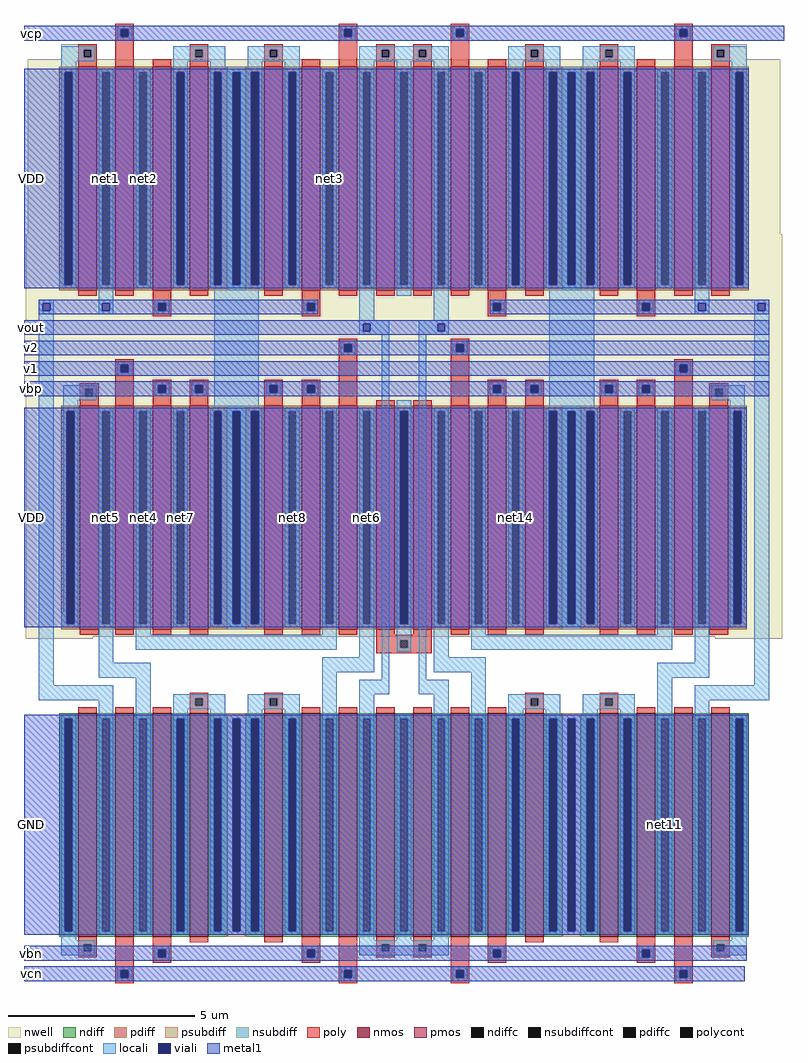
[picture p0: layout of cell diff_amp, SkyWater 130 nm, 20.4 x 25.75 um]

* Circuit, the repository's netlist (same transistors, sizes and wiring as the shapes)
* SPICE3 file created from diff_amp.ext - technology: sky130A


* Top level circuit diff_amp

X0 a_1700_2180# vcn vout GND sky130_fd_pr__nfet_01v8 ad=3e+12p pd=1.3e+07u as=9e+12p ps=3.9e+07u w=6e+06u l=500000u
X1 a_1900_4000# vcp vout VDD sky130_fd_pr__pfet_01v8 ad=3e+12p pd=1.3e+07u as=9e+12p ps=3.9e+07u w=6e+06u l=500000u
X2 net6 v2 net4 VDD sky130_fd_pr__pfet_01v8 ad=3e+12p pd=1.3e+07u as=6e+12p ps=2.6e+07u w=6e+06u l=500000u
X3 a_2000_3860# vcn net11 GND sky130_fd_pr__nfet_01v8 ad=3e+12p pd=1.3e+07u as=3e+12p ps=1.3e+07u w=6e+06u l=500000u
X4 net3 net1 VDD VDD sky130_fd_pr__pfet_01v8 ad=3e+12p pd=1.3e+07u as=5.1e+13p ps=2.21e+08u w=6e+06u l=500000u
X5 net4 v1 net5 VDD sky130_fd_pr__pfet_01v8 ad=0p pd=0u as=2.7e+12p ps=1.29e+07u w=6e+06u l=500000u
X6 GND vbn net5 GND sky130_fd_pr__nfet_01v8 ad=3e+13p pd=1.3e+08u as=3e+12p ps=1.3e+07u w=6e+06u l=500000u
X7 a_2900_4000# a_2000_3860# VDD VDD sky130_fd_pr__pfet_01v8 ad=3e+12p pd=1.3e+07u as=0p ps=0u w=6e+06u l=500000u
X8 VDD vbp net14 VDD sky130_fd_pr__pfet_01v8 ad=0p pd=0u as=3e+12p ps=1.3e+07u w=6e+06u l=500000u
X9 VDD a_2000_3860# a_1900_4000# VDD sky130_fd_pr__pfet_01v8 ad=0p pd=0u as=0p ps=0u w=6e+06u l=500000u
X10 vout vout vout GND sky130_fd_pr__nfet_01v8 ad=0p pd=0u as=0p ps=0u w=6e+06u l=500000u
X11 VDD VDD net11 VDD sky130_fd_pr__pfet_01v8 ad=0p pd=0u as=2.7e+12p ps=1.29e+07u w=6e+06u l=500000u
X12 GND vbn a_1700_2180# GND sky130_fd_pr__nfet_01v8 ad=0p pd=0u as=0p ps=0u w=6e+06u l=500000u
X13 VDD VDD VDD VDD sky130_fd_pr__pfet_01v8 ad=0p pd=0u as=0p ps=0u w=6e+06u l=500000u
X14 a_2000_3860# vcp a_2900_4000# VDD sky130_fd_pr__pfet_01v8 ad=3e+12p pd=1.3e+07u as=0p ps=0u w=6e+06u l=500000u
X15 a_1900_2180# v2 a_1700_2180# VDD sky130_fd_pr__pfet_01v8 ad=6e+12p pd=2.6e+07u as=3e+12p ps=1.3e+07u w=6e+06u l=500000u
X16 net5 vcn net1 GND sky130_fd_pr__nfet_01v8 ad=0p pd=0u as=3e+12p ps=1.3e+07u w=6e+06u l=500000u
X17 vout vout vout VDD sky130_fd_pr__pfet_01v8 ad=0p pd=0u as=0p ps=0u w=6e+06u l=500000u
X18 net4 vbp net8 VDD sky130_fd_pr__pfet_01v8 ad=0p pd=0u as=3e+12p ps=1.3e+07u w=6e+06u l=500000u
X19 a_1900_2180# vbp a_2700_2180# VDD sky130_fd_pr__pfet_01v8 ad=0p pd=0u as=3e+12p ps=1.3e+07u w=6e+06u l=500000u
X20 GND GND GND GND sky130_fd_pr__nfet_01v8 ad=0p pd=0u as=0p ps=0u w=6e+06u l=500000u
X21 net6 vbn GND GND sky130_fd_pr__nfet_01v8 ad=3e+12p pd=1.3e+07u as=0p ps=0u w=6e+06u l=500000u
X22 VDD VDD VDD VDD sky130_fd_pr__pfet_01v8 ad=0p pd=0u as=0p ps=0u w=6e+06u l=500000u
X23 net14 vbp a_1900_2180# VDD sky130_fd_pr__pfet_01v8 ad=0p pd=0u as=0p ps=0u w=6e+06u l=500000u
X24 VDD vbp net7 VDD sky130_fd_pr__pfet_01v8 ad=0p pd=0u as=3e+12p ps=1.3e+07u w=6e+06u l=500000u
X25 net11 v1 a_1900_2180# VDD sky130_fd_pr__pfet_01v8 ad=0p pd=0u as=0p ps=0u w=6e+06u l=500000u
X26 net1 GND GND GND sky130_fd_pr__nfet_01v8 ad=0p pd=0u as=0p ps=0u w=6e+06u l=500000u
X27 VDD net1 net2 VDD sky130_fd_pr__pfet_01v8 ad=0p pd=0u as=3e+12p ps=1.3e+07u w=6e+06u l=500000u
X28 GND GND GND GND sky130_fd_pr__nfet_01v8 ad=0p pd=0u as=0p ps=0u w=6e+06u l=500000u
X29 GND GND GND GND sky130_fd_pr__nfet_01v8 ad=0p pd=0u as=0p ps=0u w=6e+06u l=500000u
X30 GND GND a_2000_3860# GND sky130_fd_pr__nfet_01v8 ad=0p pd=0u as=0p ps=0u w=6e+06u l=500000u
X31 a_1700_2180# VDD VDD VDD sky130_fd_pr__pfet_01v8 ad=0p pd=0u as=0p ps=0u w=6e+06u l=500000u
X32 vout vout vout VDD sky130_fd_pr__pfet_01v8 ad=0p pd=0u as=0p ps=0u w=6e+06u l=500000u
X33 a_2700_2180# vbp VDD VDD sky130_fd_pr__pfet_01v8 ad=0p pd=0u as=0p ps=0u w=6e+06u l=500000u
X34 vout vout vout GND sky130_fd_pr__nfet_01v8 ad=0p pd=0u as=0p ps=0u w=6e+06u l=500000u
X35 GND GND GND GND sky130_fd_pr__nfet_01v8 ad=0p pd=0u as=0p ps=0u w=6e+06u l=500000u
X36 VDD VDD VDD VDD sky130_fd_pr__pfet_01v8 ad=0p pd=0u as=0p ps=0u w=6e+06u l=500000u
X37 net7 vbp net4 VDD sky130_fd_pr__pfet_01v8 ad=0p pd=0u as=0p ps=0u w=6e+06u l=500000u
X38 net1 VDD VDD VDD sky130_fd_pr__pfet_01v8 ad=3e+12p pd=1.3e+07u as=0p ps=0u w=6e+06u l=500000u
X39 net5 VDD VDD VDD sky130_fd_pr__pfet_01v8 ad=0p pd=0u as=0p ps=0u w=6e+06u l=500000u
X40 vout vcn net6 GND sky130_fd_pr__nfet_01v8 ad=0p pd=0u as=0p ps=0u w=6e+06u l=500000u
X41 VDD VDD net6 VDD sky130_fd_pr__pfet_01v8 ad=0p pd=0u as=0p ps=0u w=6e+06u l=500000u
X42 net2 vcp net1 VDD sky130_fd_pr__pfet_01v8 ad=0p pd=0u as=0p ps=0u w=6e+06u l=500000u
X43 vout vcp net3 VDD sky130_fd_pr__pfet_01v8 ad=0p pd=0u as=0p ps=0u w=6e+06u l=500000u
X44 net11 vbn GND GND sky130_fd_pr__nfet_01v8 ad=0p pd=0u as=0p ps=0u w=6e+06u l=500000u
X45 VDD VDD VDD VDD sky130_fd_pr__pfet_01v8 ad=0p pd=0u as=0p ps=0u w=6e+06u l=500000u
X46 VDD VDD a_2000_3860# VDD sky130_fd_pr__pfet_01v8 ad=0p pd=0u as=0p ps=0u w=6e+06u l=500000u
X47 net8 vbp VDD VDD sky130_fd_pr__pfet_01v8 ad=0p pd=0u as=0p ps=0u w=6e+06u l=500000u
.end

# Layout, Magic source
magic
tech sky130A
<< nwell >>
rect -145 2620 -50 2660
rect 1600 2620 1695 2660
rect -235 2150 1785 2620
rect -240 1920 1790 2150
rect -245 1715 1790 1920
rect -240 1070 1790 1715
rect -240 1065 -60 1070
rect 1610 1065 1790 1070
<< nmos >>
rect -100 265 -50 865
rect 0 265 50 865
rect 100 265 150 865
rect 200 265 250 865
rect 400 265 450 865
rect 500 265 550 865
rect 600 265 650 865
rect 700 265 750 865
rect 800 265 850 865
rect 900 265 950 865
rect 1000 265 1050 865
rect 1100 265 1150 865
rect 1300 265 1350 865
rect 1400 265 1450 865
rect 1500 265 1550 865
rect 1600 265 1650 865
<< pmos >>
rect -100 2000 -50 2600
rect 0 2000 50 2600
rect 100 2000 150 2600
rect 200 2000 250 2600
rect 400 2000 450 2600
rect 500 2000 550 2600
rect 600 2000 650 2600
rect 700 2000 750 2600
rect 800 2000 850 2600
rect 900 2000 950 2600
rect 1000 2000 1050 2600
rect 1100 2000 1150 2600
rect 1300 2000 1350 2600
rect 1400 2000 1450 2600
rect 1500 2000 1550 2600
rect 1600 2000 1650 2600
rect -95 1090 -45 1690
rect 0 1090 50 1690
rect 100 1090 150 1690
rect 200 1090 250 1690
rect 400 1090 450 1690
rect 500 1090 550 1690
rect 600 1090 650 1690
rect 700 1090 750 1690
rect 800 1090 850 1690
rect 900 1090 950 1690
rect 1000 1090 1050 1690
rect 1100 1090 1150 1690
rect 1300 1090 1350 1690
rect 1400 1090 1450 1690
rect 1500 1090 1550 1690
rect 1595 1090 1645 1690
<< ndiff >>
rect -150 850 -100 865
rect -150 280 -135 850
rect -115 280 -100 850
rect -150 265 -100 280
rect -50 850 0 865
rect -50 280 -35 850
rect -15 280 0 850
rect -50 265 0 280
rect 50 850 100 865
rect 50 280 65 850
rect 85 280 100 850
rect 50 265 100 280
rect 150 850 200 865
rect 150 280 165 850
rect 185 280 200 850
rect 150 265 200 280
rect 250 850 300 865
rect 350 850 400 865
rect 250 280 265 850
rect 285 280 300 850
rect 350 280 365 850
rect 385 280 400 850
rect 250 265 300 280
rect 350 265 400 280
rect 450 850 500 865
rect 450 280 465 850
rect 485 280 500 850
rect 450 265 500 280
rect 550 850 600 865
rect 550 280 565 850
rect 585 280 600 850
rect 550 265 600 280
rect 650 850 700 865
rect 650 280 665 850
rect 685 280 700 850
rect 650 265 700 280
rect 750 850 800 865
rect 750 280 765 850
rect 785 280 800 850
rect 750 265 800 280
rect 850 850 900 865
rect 850 280 865 850
rect 885 280 900 850
rect 850 265 900 280
rect 950 850 1000 865
rect 950 280 965 850
rect 985 280 1000 850
rect 950 265 1000 280
rect 1050 850 1100 865
rect 1050 280 1065 850
rect 1085 280 1100 850
rect 1050 265 1100 280
rect 1150 850 1200 865
rect 1250 850 1300 865
rect 1150 280 1165 850
rect 1185 280 1200 850
rect 1250 280 1265 850
rect 1285 280 1300 850
rect 1150 265 1200 280
rect 1250 265 1300 280
rect 1350 850 1400 865
rect 1350 280 1365 850
rect 1385 280 1400 850
rect 1350 265 1400 280
rect 1450 850 1500 865
rect 1450 280 1465 850
rect 1485 280 1500 850
rect 1450 265 1500 280
rect 1550 850 1600 865
rect 1550 280 1565 850
rect 1585 280 1600 850
rect 1550 265 1600 280
rect 1650 850 1700 865
rect 1650 280 1665 850
rect 1685 280 1700 850
rect 1650 265 1700 280
<< pdiff >>
rect -150 2585 -100 2600
rect -150 2015 -135 2585
rect -115 2015 -100 2585
rect -150 2000 -100 2015
rect -50 2585 0 2600
rect -50 2015 -35 2585
rect -15 2015 0 2585
rect -50 2000 0 2015
rect 50 2585 100 2600
rect 50 2015 65 2585
rect 85 2015 100 2585
rect 50 2000 100 2015
rect 150 2585 200 2600
rect 150 2015 165 2585
rect 185 2015 200 2585
rect 150 2000 200 2015
rect 250 2585 300 2600
rect 350 2585 400 2600
rect 250 2015 265 2585
rect 285 2015 300 2585
rect 350 2015 365 2585
rect 385 2015 400 2585
rect 250 2000 300 2015
rect 350 2000 400 2015
rect 450 2585 500 2600
rect 450 2015 465 2585
rect 485 2015 500 2585
rect 450 2000 500 2015
rect 550 2585 600 2600
rect 550 2015 565 2585
rect 585 2015 600 2585
rect 550 2000 600 2015
rect 650 2585 700 2600
rect 650 2015 665 2585
rect 685 2015 700 2585
rect 650 2000 700 2015
rect 750 2585 800 2600
rect 750 2015 765 2585
rect 785 2015 800 2585
rect 750 2000 800 2015
rect 850 2585 900 2600
rect 850 2015 865 2585
rect 885 2015 900 2585
rect 850 2000 900 2015
rect 950 2585 1000 2600
rect 950 2015 965 2585
rect 985 2015 1000 2585
rect 950 2000 1000 2015
rect 1050 2585 1100 2600
rect 1050 2015 1065 2585
rect 1085 2015 1100 2585
rect 1050 2000 1100 2015
rect 1150 2585 1200 2600
rect 1250 2585 1300 2600
rect 1150 2015 1165 2585
rect 1185 2015 1200 2585
rect 1250 2015 1265 2585
rect 1285 2015 1300 2585
rect 1150 2000 1200 2015
rect 1250 2000 1300 2015
rect 1350 2585 1400 2600
rect 1350 2015 1365 2585
rect 1385 2015 1400 2585
rect 1350 2000 1400 2015
rect 1450 2585 1500 2600
rect 1450 2015 1465 2585
rect 1485 2015 1500 2585
rect 1450 2000 1500 2015
rect 1550 2585 1600 2600
rect 1550 2015 1565 2585
rect 1585 2015 1600 2585
rect 1550 2000 1600 2015
rect 1650 2585 1700 2600
rect 1650 2015 1665 2585
rect 1685 2015 1700 2585
rect 1650 2000 1700 2015
rect -145 1675 -95 1690
rect -145 1105 -130 1675
rect -110 1105 -95 1675
rect -145 1090 -95 1105
rect -45 1675 0 1690
rect -45 1105 -35 1675
rect -15 1105 0 1675
rect -45 1090 0 1105
rect 50 1675 100 1690
rect 50 1105 65 1675
rect 85 1105 100 1675
rect 50 1090 100 1105
rect 150 1675 200 1690
rect 150 1105 165 1675
rect 185 1105 200 1675
rect 150 1090 200 1105
rect 250 1675 300 1690
rect 350 1675 400 1690
rect 250 1105 265 1675
rect 285 1105 300 1675
rect 350 1105 365 1675
rect 385 1105 400 1675
rect 250 1090 300 1105
rect 350 1090 400 1105
rect 450 1675 500 1690
rect 450 1105 465 1675
rect 485 1105 500 1675
rect 450 1090 500 1105
rect 550 1675 600 1690
rect 550 1105 565 1675
rect 585 1105 600 1675
rect 550 1090 600 1105
rect 650 1675 700 1690
rect 650 1105 665 1675
rect 685 1105 700 1675
rect 650 1090 700 1105
rect 750 1675 800 1690
rect 750 1105 765 1675
rect 785 1105 800 1675
rect 750 1090 800 1105
rect 850 1675 900 1690
rect 850 1105 865 1675
rect 885 1105 900 1675
rect 850 1090 900 1105
rect 950 1675 1000 1690
rect 950 1105 965 1675
rect 985 1105 1000 1675
rect 950 1090 1000 1105
rect 1050 1675 1100 1690
rect 1050 1105 1065 1675
rect 1085 1105 1100 1675
rect 1050 1090 1100 1105
rect 1150 1675 1200 1690
rect 1250 1675 1300 1690
rect 1150 1105 1165 1675
rect 1185 1105 1200 1675
rect 1250 1105 1265 1675
rect 1285 1105 1300 1675
rect 1150 1090 1200 1105
rect 1250 1090 1300 1105
rect 1350 1675 1400 1690
rect 1350 1105 1365 1675
rect 1385 1105 1400 1675
rect 1350 1090 1400 1105
rect 1450 1675 1500 1690
rect 1450 1105 1465 1675
rect 1485 1105 1500 1675
rect 1450 1090 1500 1105
rect 1550 1675 1595 1690
rect 1550 1105 1565 1675
rect 1585 1105 1595 1675
rect 1550 1090 1595 1105
rect 1645 1675 1695 1690
rect 1645 1105 1660 1675
rect 1680 1105 1695 1675
rect 1645 1090 1695 1105
<< ndiffc >>
rect -135 280 -115 850
rect -35 280 -15 850
rect 65 280 85 850
rect 165 280 185 850
rect 265 280 285 850
rect 365 280 385 850
rect 465 280 485 850
rect 565 280 585 850
rect 665 280 685 850
rect 765 280 785 850
rect 865 280 885 850
rect 965 280 985 850
rect 1065 280 1085 850
rect 1165 280 1185 850
rect 1265 280 1285 850
rect 1365 280 1385 850
rect 1465 280 1485 850
rect 1565 280 1585 850
rect 1665 280 1685 850
<< pdiffc >>
rect -135 2015 -115 2585
rect -35 2015 -15 2585
rect 65 2015 85 2585
rect 165 2015 185 2585
rect 265 2015 285 2585
rect 365 2015 385 2585
rect 465 2015 485 2585
rect 565 2015 585 2585
rect 665 2015 685 2585
rect 765 2015 785 2585
rect 865 2015 885 2585
rect 965 2015 985 2585
rect 1065 2015 1085 2585
rect 1165 2015 1185 2585
rect 1265 2015 1285 2585
rect 1365 2015 1385 2585
rect 1465 2015 1485 2585
rect 1565 2015 1585 2585
rect 1665 2015 1685 2585
rect -130 1105 -110 1675
rect -35 1105 -15 1675
rect 65 1105 85 1675
rect 165 1105 185 1675
rect 265 1105 285 1675
rect 365 1105 385 1675
rect 465 1105 485 1675
rect 565 1105 585 1675
rect 665 1105 685 1675
rect 765 1105 785 1675
rect 865 1105 885 1675
rect 965 1105 985 1675
rect 1065 1105 1085 1675
rect 1165 1105 1185 1675
rect 1265 1105 1285 1675
rect 1365 1105 1385 1675
rect 1465 1105 1485 1675
rect 1565 1105 1585 1675
rect 1660 1105 1680 1675
<< psubdiff >>
rect 300 850 350 865
rect 300 280 315 850
rect 335 280 350 850
rect 300 265 350 280
rect 1200 850 1250 865
rect 1200 280 1215 850
rect 1235 280 1250 850
rect 1200 265 1250 280
<< nsubdiff >>
rect 300 2585 350 2600
rect 300 2015 315 2585
rect 335 2015 350 2585
rect 300 2000 350 2015
rect 1200 2585 1250 2600
rect 1200 2015 1215 2585
rect 1235 2015 1250 2585
rect 1200 2000 1250 2015
rect 300 1675 350 1690
rect 300 1105 315 1675
rect 335 1105 350 1675
rect 300 1090 350 1105
rect 1200 1675 1250 1690
rect 1200 1105 1215 1675
rect 1235 1105 1250 1675
rect 1200 1090 1250 1105
<< psubdiffcont >>
rect 315 280 335 850
rect 1215 280 1235 850
<< nsubdiffcont >>
rect 315 2015 335 2585
rect 1215 2015 1235 2585
rect 315 1105 335 1675
rect 1215 1105 1235 1675
<< poly >>
rect 0 2700 50 2715
rect 0 2680 15 2700
rect 35 2680 50 2700
rect -100 2645 -50 2660
rect -100 2625 -85 2645
rect -65 2625 -50 2645
rect -100 2600 -50 2625
rect 0 2600 50 2680
rect 600 2700 650 2715
rect 600 2680 615 2700
rect 635 2680 650 2700
rect 200 2645 250 2660
rect 200 2625 215 2645
rect 235 2625 250 2645
rect 100 2600 150 2620
rect 200 2600 250 2625
rect 400 2645 450 2660
rect 400 2625 415 2645
rect 435 2625 450 2645
rect 400 2600 450 2625
rect 500 2600 550 2620
rect 600 2600 650 2680
rect 900 2700 950 2715
rect 900 2680 915 2700
rect 935 2680 950 2700
rect 700 2645 750 2660
rect 700 2625 715 2645
rect 735 2625 750 2645
rect 700 2600 750 2625
rect 800 2645 850 2660
rect 800 2625 815 2645
rect 835 2625 850 2645
rect 800 2600 850 2625
rect 900 2600 950 2680
rect 1500 2700 1550 2715
rect 1500 2680 1515 2700
rect 1535 2680 1550 2700
rect 1100 2645 1150 2660
rect 1100 2625 1115 2645
rect 1135 2625 1150 2645
rect 1000 2600 1050 2620
rect 1100 2600 1150 2625
rect 1300 2645 1350 2660
rect 1300 2625 1315 2645
rect 1335 2625 1350 2645
rect 1300 2600 1350 2625
rect 1400 2600 1450 2620
rect 1500 2600 1550 2680
rect 1600 2645 1650 2660
rect 1600 2625 1615 2645
rect 1635 2625 1650 2645
rect 1600 2600 1650 2625
rect -100 1985 -50 2000
rect 0 1985 50 2000
rect 100 1965 150 2000
rect 200 1985 250 2000
rect 400 1985 450 2000
rect 100 1945 115 1965
rect 135 1945 150 1965
rect 100 1930 150 1945
rect 500 1965 550 2000
rect 600 1985 650 2000
rect 700 1985 750 2000
rect 800 1985 850 2000
rect 900 1985 950 2000
rect 500 1945 515 1965
rect 535 1945 550 1965
rect 500 1930 550 1945
rect 1000 1965 1050 2000
rect 1100 1985 1150 2000
rect 1300 1985 1350 2000
rect 1000 1945 1015 1965
rect 1035 1945 1050 1965
rect 1000 1930 1050 1945
rect 1400 1965 1450 2000
rect 1500 1985 1550 2000
rect 1600 1985 1650 2000
rect 1400 1945 1415 1965
rect 1435 1945 1450 1965
rect 1400 1930 1450 1945
rect 600 1855 650 1870
rect 600 1835 615 1855
rect 635 1835 650 1855
rect 0 1800 50 1815
rect 0 1780 15 1800
rect 35 1780 50 1800
rect -95 1735 -45 1750
rect -95 1715 -80 1735
rect -60 1715 -45 1735
rect -95 1690 -45 1715
rect 0 1690 50 1780
rect 100 1745 150 1760
rect 100 1725 115 1745
rect 135 1725 150 1745
rect 100 1690 150 1725
rect 200 1745 250 1760
rect 200 1725 215 1745
rect 235 1725 250 1745
rect 200 1690 250 1725
rect 400 1745 450 1760
rect 400 1725 415 1745
rect 435 1725 450 1745
rect 400 1690 450 1725
rect 500 1745 550 1760
rect 500 1725 515 1745
rect 535 1725 550 1745
rect 500 1690 550 1725
rect 600 1690 650 1835
rect 900 1855 950 1870
rect 900 1835 915 1855
rect 935 1835 950 1855
rect 700 1690 750 1705
rect 800 1690 850 1705
rect 900 1690 950 1835
rect 1500 1800 1550 1815
rect 1500 1780 1515 1800
rect 1535 1780 1550 1800
rect 1000 1745 1050 1760
rect 1000 1725 1015 1745
rect 1035 1725 1050 1745
rect 1000 1690 1050 1725
rect 1100 1745 1150 1760
rect 1100 1725 1115 1745
rect 1135 1725 1150 1745
rect 1100 1690 1150 1725
rect 1300 1745 1350 1760
rect 1300 1725 1315 1745
rect 1335 1725 1350 1745
rect 1300 1690 1350 1725
rect 1400 1745 1450 1760
rect 1400 1725 1415 1745
rect 1435 1725 1450 1745
rect 1400 1690 1450 1725
rect 1500 1690 1550 1780
rect 1595 1735 1645 1750
rect 1595 1715 1610 1735
rect 1630 1715 1645 1735
rect 1595 1690 1645 1715
rect -95 1075 -45 1090
rect 0 1075 50 1090
rect 100 1075 150 1090
rect 200 1075 250 1090
rect 400 1075 450 1090
rect 500 1075 550 1090
rect 600 1075 650 1090
rect 700 1075 750 1090
rect 800 1075 850 1090
rect 900 1075 950 1090
rect 1000 1075 1050 1090
rect 1100 1075 1150 1090
rect 1300 1075 1350 1090
rect 1400 1075 1450 1090
rect 1500 1075 1550 1090
rect 1595 1075 1645 1090
rect 700 1060 850 1075
rect 700 1040 765 1060
rect 785 1040 850 1060
rect 700 1025 850 1040
rect 200 905 250 920
rect 200 885 215 905
rect 235 885 250 905
rect -100 865 -50 880
rect 0 865 50 880
rect 100 865 150 880
rect 200 865 250 885
rect 400 905 450 920
rect 400 885 415 905
rect 435 885 450 905
rect 400 865 450 885
rect 1100 905 1150 920
rect 1100 885 1115 905
rect 1135 885 1150 905
rect 500 865 550 880
rect 600 865 650 880
rect 700 865 750 880
rect 800 865 850 880
rect 900 865 950 880
rect 1000 865 1050 880
rect 1100 865 1150 885
rect 1300 905 1350 920
rect 1300 885 1315 905
rect 1335 885 1350 905
rect 1300 865 1350 885
rect 1400 865 1450 880
rect 1500 865 1550 880
rect 1600 865 1650 880
rect -100 245 -50 265
rect -100 225 -85 245
rect -65 225 -50 245
rect -100 210 -50 225
rect 0 175 50 265
rect 100 230 150 265
rect 200 250 250 265
rect 400 250 450 265
rect 100 210 115 230
rect 135 210 150 230
rect 100 195 150 210
rect 500 230 550 265
rect 500 210 515 230
rect 535 210 550 230
rect 500 195 550 210
rect 0 155 15 175
rect 35 155 50 175
rect 0 140 50 155
rect 600 175 650 265
rect 700 245 750 265
rect 700 225 715 245
rect 735 225 750 245
rect 700 210 750 225
rect 800 245 850 265
rect 800 225 815 245
rect 835 225 850 245
rect 800 210 850 225
rect 600 155 615 175
rect 635 155 650 175
rect 600 140 650 155
rect 900 175 950 265
rect 1000 230 1050 265
rect 1100 250 1150 265
rect 1300 250 1350 265
rect 1000 210 1015 230
rect 1035 210 1050 230
rect 1000 195 1050 210
rect 1400 230 1450 265
rect 1400 210 1415 230
rect 1435 210 1450 230
rect 1400 195 1450 210
rect 900 155 915 175
rect 935 155 950 175
rect 900 140 950 155
rect 1500 175 1550 265
rect 1600 245 1650 265
rect 1600 225 1615 245
rect 1635 225 1650 245
rect 1600 210 1650 225
rect 1500 155 1515 175
rect 1535 155 1550 175
rect 1500 140 1550 155
<< polycont >>
rect 15 2680 35 2700
rect -85 2625 -65 2645
rect 615 2680 635 2700
rect 215 2625 235 2645
rect 415 2625 435 2645
rect 915 2680 935 2700
rect 715 2625 735 2645
rect 815 2625 835 2645
rect 1515 2680 1535 2700
rect 1115 2625 1135 2645
rect 1315 2625 1335 2645
rect 1615 2625 1635 2645
rect 115 1945 135 1965
rect 515 1945 535 1965
rect 1015 1945 1035 1965
rect 1415 1945 1435 1965
rect 615 1835 635 1855
rect 15 1780 35 1800
rect -80 1715 -60 1735
rect 115 1725 135 1745
rect 215 1725 235 1745
rect 415 1725 435 1745
rect 515 1725 535 1745
rect 915 1835 935 1855
rect 1515 1780 1535 1800
rect 1015 1725 1035 1745
rect 1115 1725 1135 1745
rect 1315 1725 1335 1745
rect 1415 1725 1435 1745
rect 1610 1715 1630 1735
rect 765 1040 785 1060
rect 215 885 235 905
rect 415 885 435 905
rect 1115 885 1135 905
rect 1315 885 1335 905
rect -85 225 -65 245
rect 115 210 135 230
rect 515 210 535 230
rect 15 155 35 175
rect 715 225 735 245
rect 815 225 835 245
rect 615 155 635 175
rect 1015 210 1035 230
rect 1415 210 1435 230
rect 915 155 935 175
rect 1615 225 1635 245
rect 1515 155 1535 175
<< locali >>
rect 5 2700 45 2710
rect 5 2680 15 2700
rect 35 2680 45 2700
rect 5 2670 45 2680
rect 605 2700 645 2710
rect 605 2680 615 2700
rect 635 2680 645 2700
rect 605 2670 645 2680
rect 905 2700 945 2710
rect 905 2680 915 2700
rect 935 2680 945 2700
rect 905 2670 945 2680
rect 1505 2700 1545 2710
rect 1505 2680 1515 2700
rect 1535 2680 1545 2700
rect 1505 2670 1545 2680
rect -145 2645 -55 2655
rect -145 2625 -85 2645
rect -65 2625 -55 2645
rect -145 2615 -55 2625
rect 155 2645 295 2655
rect 155 2625 215 2645
rect 235 2625 295 2645
rect 155 2615 295 2625
rect -145 2585 -105 2615
rect -145 2045 -135 2585
rect -150 2015 -135 2045
rect -115 2015 -105 2585
rect -150 2005 -105 2015
rect -45 2585 -5 2595
rect -45 2015 -35 2585
rect -15 2015 -5 2585
rect -205 1965 -165 1975
rect -205 1945 -195 1965
rect -175 1945 -165 1965
rect -205 940 -165 1945
rect -45 1965 -5 2015
rect 55 2585 95 2595
rect 55 2015 65 2585
rect 85 2015 95 2585
rect 55 2005 95 2015
rect 155 2585 195 2615
rect 155 2015 165 2585
rect 185 2015 195 2585
rect 155 2005 195 2015
rect 255 2595 295 2615
rect 355 2645 495 2655
rect 355 2625 415 2645
rect 435 2625 495 2645
rect 355 2615 495 2625
rect 355 2595 395 2615
rect 255 2585 395 2595
rect 255 2015 265 2585
rect 285 2015 315 2585
rect 335 2015 365 2585
rect 385 2015 395 2585
rect 255 2005 395 2015
rect 455 2585 495 2615
rect 655 2645 895 2655
rect 655 2625 715 2645
rect 735 2625 815 2645
rect 835 2625 895 2645
rect 655 2615 895 2625
rect 455 2015 465 2585
rect 485 2015 495 2585
rect 455 2005 495 2015
rect 555 2585 595 2595
rect 555 2015 565 2585
rect 585 2015 595 2585
rect 555 2005 595 2015
rect 655 2585 695 2615
rect 655 2015 665 2585
rect 685 2015 695 2585
rect -45 1945 -35 1965
rect -15 1945 -5 1965
rect -45 1935 -5 1945
rect 105 1965 145 1975
rect 105 1945 115 1965
rect 135 1945 145 1965
rect 105 1935 145 1945
rect 5 1800 45 1810
rect 5 1780 15 1800
rect 35 1780 45 1800
rect 5 1770 45 1780
rect 105 1745 145 1755
rect -140 1735 -50 1745
rect -140 1715 -80 1735
rect -60 1715 -50 1735
rect 105 1725 115 1745
rect 135 1725 145 1745
rect 105 1715 145 1725
rect 205 1745 245 1755
rect 205 1725 215 1745
rect 235 1725 245 1745
rect 205 1715 245 1725
rect -140 1705 -50 1715
rect -140 1675 -100 1705
rect 265 1685 385 2005
rect 505 1965 545 1975
rect 505 1945 515 1965
rect 535 1945 545 1965
rect 505 1935 545 1945
rect 655 1920 695 2015
rect 755 2585 795 2615
rect 755 2015 765 2585
rect 785 2015 795 2585
rect 755 1985 795 2015
rect 855 2585 895 2615
rect 1055 2645 1195 2655
rect 1055 2625 1115 2645
rect 1135 2625 1195 2645
rect 1055 2615 1195 2625
rect 855 2015 865 2585
rect 885 2015 895 2585
rect 855 1920 895 2015
rect 955 2585 995 2595
rect 955 2015 965 2585
rect 985 2015 995 2585
rect 955 2005 995 2015
rect 1055 2585 1095 2615
rect 1055 2015 1065 2585
rect 1085 2015 1095 2585
rect 1055 2005 1095 2015
rect 1155 2595 1195 2615
rect 1255 2645 1395 2655
rect 1255 2625 1315 2645
rect 1335 2625 1395 2645
rect 1255 2615 1395 2625
rect 1605 2645 1695 2655
rect 1605 2625 1615 2645
rect 1635 2625 1695 2645
rect 1605 2615 1695 2625
rect 1255 2595 1295 2615
rect 1155 2585 1295 2595
rect 1155 2015 1165 2585
rect 1185 2015 1215 2585
rect 1235 2015 1265 2585
rect 1285 2015 1295 2585
rect 1155 2005 1295 2015
rect 1355 2585 1395 2615
rect 1355 2015 1365 2585
rect 1385 2015 1395 2585
rect 1355 2005 1395 2015
rect 1455 2585 1495 2595
rect 1455 2015 1465 2585
rect 1485 2015 1495 2585
rect 1455 2005 1495 2015
rect 1555 2585 1595 2595
rect 1555 2015 1565 2585
rect 1585 2015 1595 2585
rect 1005 1965 1045 1975
rect 1005 1945 1015 1965
rect 1035 1945 1045 1965
rect 1005 1935 1045 1945
rect 655 1910 735 1920
rect 655 1890 665 1910
rect 685 1890 735 1910
rect 655 1880 735 1890
rect 605 1855 645 1865
rect 605 1835 615 1855
rect 635 1835 645 1855
rect 605 1825 645 1835
rect 405 1745 445 1755
rect 405 1725 415 1745
rect 435 1725 445 1745
rect 405 1715 445 1725
rect 505 1745 545 1755
rect 505 1725 515 1745
rect 535 1725 545 1745
rect 505 1715 545 1725
rect -140 1135 -130 1675
rect -145 1105 -130 1135
rect -110 1105 -100 1675
rect -145 1095 -100 1105
rect -45 1675 -5 1685
rect -45 1105 -35 1675
rect -15 1105 -5 1675
rect -45 1000 -5 1105
rect 55 1675 95 1685
rect 55 1105 65 1675
rect 85 1105 95 1675
rect 55 1075 95 1105
rect 155 1675 195 1685
rect 155 1105 165 1675
rect 185 1105 195 1675
rect 155 1095 195 1105
rect 255 1675 395 1685
rect 255 1105 265 1675
rect 285 1105 315 1675
rect 335 1105 365 1675
rect 385 1105 395 1675
rect 255 1095 395 1105
rect 455 1675 495 1685
rect 455 1105 465 1675
rect 485 1105 495 1675
rect 455 1095 495 1105
rect 555 1675 595 1685
rect 555 1105 565 1675
rect 585 1105 595 1675
rect 555 1075 595 1105
rect 55 1035 595 1075
rect 655 1675 695 1685
rect 655 1105 665 1675
rect 685 1105 695 1675
rect 655 1015 695 1105
rect -45 960 95 1000
rect -205 900 -5 940
rect -145 850 -105 860
rect -145 280 -135 850
rect -115 280 -105 850
rect -145 255 -105 280
rect -45 850 -5 900
rect -45 280 -35 850
rect -15 280 -5 850
rect -45 270 -5 280
rect 55 850 95 960
rect 555 975 695 1015
rect 55 280 65 850
rect 85 280 95 850
rect 55 270 95 280
rect 155 905 295 915
rect 155 885 215 905
rect 235 885 295 905
rect 155 875 295 885
rect 155 850 195 875
rect 155 280 165 850
rect 185 280 195 850
rect 155 270 195 280
rect 255 865 295 875
rect 355 905 495 915
rect 355 885 415 905
rect 435 885 495 905
rect 355 875 495 885
rect 255 860 300 865
rect 355 860 395 875
rect 255 850 395 860
rect 255 280 265 850
rect 285 280 315 850
rect 335 280 365 850
rect 385 280 395 850
rect 255 270 395 280
rect 455 850 495 875
rect 455 280 465 850
rect 485 280 495 850
rect 455 270 495 280
rect 555 850 595 975
rect 715 955 735 1880
rect 815 1910 895 1920
rect 815 1890 865 1910
rect 885 1890 895 1910
rect 815 1880 895 1890
rect 755 1675 795 1705
rect 755 1105 765 1675
rect 785 1105 795 1675
rect 755 1060 795 1105
rect 755 1040 765 1060
rect 785 1040 795 1060
rect 755 1030 795 1040
rect 555 280 565 850
rect 585 280 595 850
rect 555 270 595 280
rect 655 915 735 955
rect 815 955 835 1880
rect 905 1855 945 1865
rect 905 1835 915 1855
rect 935 1835 945 1855
rect 905 1825 945 1835
rect 1005 1745 1045 1755
rect 1005 1725 1015 1745
rect 1035 1725 1045 1745
rect 1005 1715 1045 1725
rect 1105 1745 1145 1755
rect 1105 1725 1115 1745
rect 1135 1725 1145 1745
rect 1105 1715 1145 1725
rect 1165 1685 1285 2005
rect 1405 1965 1445 1975
rect 1405 1945 1415 1965
rect 1435 1945 1445 1965
rect 1405 1935 1445 1945
rect 1555 1965 1595 2015
rect 1655 2585 1695 2615
rect 1655 2015 1665 2585
rect 1685 2045 1695 2585
rect 1685 2015 1700 2045
rect 1655 2005 1700 2015
rect 1555 1945 1565 1965
rect 1585 1945 1595 1965
rect 1555 1935 1595 1945
rect 1715 1965 1755 1975
rect 1715 1945 1725 1965
rect 1745 1945 1755 1965
rect 1505 1800 1545 1810
rect 1505 1780 1515 1800
rect 1535 1780 1545 1800
rect 1505 1770 1545 1780
rect 1305 1745 1345 1755
rect 1305 1725 1315 1745
rect 1335 1725 1345 1745
rect 1305 1715 1345 1725
rect 1405 1745 1445 1755
rect 1405 1725 1415 1745
rect 1435 1725 1445 1745
rect 1405 1715 1445 1725
rect 1600 1735 1690 1745
rect 1600 1715 1610 1735
rect 1630 1715 1690 1735
rect 1600 1705 1690 1715
rect 855 1675 895 1685
rect 855 1105 865 1675
rect 885 1105 895 1675
rect 855 1015 895 1105
rect 955 1675 995 1685
rect 955 1105 965 1675
rect 985 1105 995 1675
rect 955 1075 995 1105
rect 1055 1675 1095 1685
rect 1055 1105 1065 1675
rect 1085 1105 1095 1675
rect 1055 1095 1095 1105
rect 1155 1675 1295 1685
rect 1155 1105 1165 1675
rect 1185 1105 1215 1675
rect 1235 1105 1265 1675
rect 1285 1105 1295 1675
rect 1155 1095 1295 1105
rect 1355 1675 1395 1685
rect 1355 1105 1365 1675
rect 1385 1105 1395 1675
rect 1355 1095 1395 1105
rect 1455 1675 1495 1685
rect 1455 1105 1465 1675
rect 1485 1105 1495 1675
rect 1455 1075 1495 1105
rect 955 1035 1495 1075
rect 1555 1675 1595 1685
rect 1555 1105 1565 1675
rect 1585 1105 1595 1675
rect 855 975 995 1015
rect 1555 1000 1595 1105
rect 1650 1675 1690 1705
rect 1650 1105 1660 1675
rect 1680 1135 1690 1675
rect 1680 1105 1695 1135
rect 1650 1095 1695 1105
rect 815 915 895 955
rect 655 850 695 915
rect 655 280 665 850
rect 685 280 695 850
rect 655 255 695 280
rect 755 850 795 860
rect 755 280 765 850
rect 785 280 795 850
rect 755 255 795 280
rect 855 850 895 915
rect 855 280 865 850
rect 885 280 895 850
rect 855 255 895 280
rect 955 850 995 975
rect 1455 960 1595 1000
rect 955 280 965 850
rect 985 280 995 850
rect 955 270 995 280
rect 1055 905 1195 915
rect 1055 885 1115 905
rect 1135 885 1195 905
rect 1055 875 1195 885
rect 1055 850 1095 875
rect 1055 280 1065 850
rect 1085 280 1095 850
rect 1055 270 1095 280
rect 1155 860 1195 875
rect 1255 905 1395 915
rect 1255 885 1315 905
rect 1335 885 1395 905
rect 1255 875 1395 885
rect 1255 865 1295 875
rect 1250 860 1295 865
rect 1155 850 1295 860
rect 1155 280 1165 850
rect 1185 280 1215 850
rect 1235 280 1265 850
rect 1285 280 1295 850
rect 1155 270 1295 280
rect 1355 850 1395 875
rect 1355 280 1365 850
rect 1385 280 1395 850
rect 1355 270 1395 280
rect 1455 850 1495 960
rect 1715 940 1755 1945
rect 1455 280 1465 850
rect 1485 280 1495 850
rect 1455 270 1495 280
rect 1555 900 1755 940
rect 1555 850 1595 900
rect 1555 280 1565 850
rect 1585 280 1595 850
rect 1555 270 1595 280
rect 1655 850 1695 860
rect 1655 280 1665 850
rect 1685 280 1695 850
rect 1655 255 1695 280
rect -145 245 -55 255
rect -145 225 -85 245
rect -65 225 -55 245
rect 655 245 895 255
rect -145 215 -55 225
rect 105 230 145 240
rect 105 210 115 230
rect 135 210 145 230
rect 105 200 145 210
rect 505 230 545 240
rect 505 210 515 230
rect 535 210 545 230
rect 655 225 715 245
rect 735 225 815 245
rect 835 225 895 245
rect 1605 245 1695 255
rect 655 215 895 225
rect 1005 230 1045 240
rect 505 200 545 210
rect 1005 210 1015 230
rect 1035 210 1045 230
rect 1005 200 1045 210
rect 1405 230 1445 240
rect 1405 210 1415 230
rect 1435 210 1445 230
rect 1605 225 1615 245
rect 1635 225 1695 245
rect 1605 215 1695 225
rect 1405 200 1445 210
rect 5 175 45 185
rect 5 155 15 175
rect 35 155 45 175
rect 5 145 45 155
rect 605 175 645 185
rect 605 155 615 175
rect 635 155 645 175
rect 605 145 645 155
rect 905 175 945 185
rect 905 155 915 175
rect 935 155 945 175
rect 905 145 945 155
rect 1505 175 1545 185
rect 1505 155 1515 175
rect 1535 155 1545 175
rect 1505 145 1545 155
<< viali >>
rect 15 2680 35 2700
rect 615 2680 635 2700
rect 915 2680 935 2700
rect 1515 2680 1535 2700
rect -135 2015 -115 2585
rect -195 1945 -175 1965
rect 165 2015 185 2585
rect 265 2015 285 2585
rect 315 2015 335 2585
rect 365 2015 385 2585
rect 465 2015 485 2585
rect -35 1945 -15 1965
rect 115 1945 135 1965
rect 15 1780 35 1800
rect 115 1725 135 1745
rect 215 1725 235 1745
rect 515 1945 535 1965
rect 1065 2015 1085 2585
rect 1165 2015 1185 2585
rect 1215 2015 1235 2585
rect 1265 2015 1285 2585
rect 1365 2015 1385 2585
rect 1015 1945 1035 1965
rect 665 1890 685 1910
rect 615 1835 635 1855
rect 415 1725 435 1745
rect 515 1725 535 1745
rect -130 1105 -110 1675
rect 265 1105 285 1675
rect 315 1105 335 1675
rect 365 1105 385 1675
rect -135 280 -115 850
rect 165 280 185 850
rect 265 280 285 850
rect 315 280 335 850
rect 365 280 385 850
rect 465 280 485 850
rect 865 1890 885 1910
rect 765 1105 785 1675
rect 915 1835 935 1855
rect 1015 1725 1035 1745
rect 1115 1725 1135 1745
rect 1415 1945 1435 1965
rect 1665 2015 1685 2585
rect 1565 1945 1585 1965
rect 1725 1945 1745 1965
rect 1515 1780 1535 1800
rect 1315 1725 1335 1745
rect 1415 1725 1435 1745
rect 1165 1105 1185 1675
rect 1215 1105 1235 1675
rect 1265 1105 1285 1675
rect 1660 1105 1680 1675
rect 1065 280 1085 850
rect 1165 280 1185 850
rect 1215 280 1235 850
rect 1265 280 1285 850
rect 1365 280 1385 850
rect 1665 280 1685 850
rect 115 210 135 230
rect 515 210 535 230
rect 1015 210 1035 230
rect 1415 210 1435 230
rect 15 155 35 175
rect 615 155 635 175
rect 915 155 935 175
rect 1515 155 1535 175
<< metal1 >>
rect -245 2700 1795 2710
rect -245 2680 15 2700
rect 35 2680 615 2700
rect 635 2680 915 2700
rect 935 2680 1515 2700
rect 1535 2680 1795 2700
rect -245 2670 1795 2680
rect -245 2585 1700 2595
rect -245 2015 -135 2585
rect -115 2015 165 2585
rect 185 2015 265 2585
rect 285 2015 315 2585
rect 335 2015 365 2585
rect 385 2015 465 2585
rect 485 2015 1065 2585
rect 1085 2015 1165 2585
rect 1185 2015 1215 2585
rect 1235 2015 1265 2585
rect 1285 2015 1365 2585
rect 1385 2015 1665 2585
rect 1685 2015 1700 2585
rect -245 2005 1700 2015
rect -205 1965 545 1975
rect -205 1945 -195 1965
rect -175 1945 -35 1965
rect -15 1945 115 1965
rect 135 1945 515 1965
rect 535 1945 545 1965
rect -205 1935 545 1945
rect 1005 1965 1755 1975
rect 1005 1945 1015 1965
rect 1035 1945 1415 1965
rect 1435 1945 1565 1965
rect 1585 1945 1725 1965
rect 1745 1945 1755 1965
rect 1005 1935 1755 1945
rect -245 1910 1755 1920
rect -245 1890 665 1910
rect 685 1890 865 1910
rect 885 1890 1755 1910
rect -245 1880 1755 1890
rect -245 1855 1755 1865
rect -245 1835 615 1855
rect 635 1835 915 1855
rect 935 1835 1755 1855
rect -245 1825 1755 1835
rect -245 1800 1755 1810
rect -245 1780 15 1800
rect 35 1780 1515 1800
rect 1535 1780 1755 1800
rect -245 1770 1755 1780
rect -245 1745 1755 1755
rect -245 1725 115 1745
rect 135 1725 215 1745
rect 235 1725 415 1745
rect 435 1725 515 1745
rect 535 1725 1015 1745
rect 1035 1725 1115 1745
rect 1135 1725 1315 1745
rect 1335 1725 1415 1745
rect 1435 1725 1755 1745
rect -245 1715 1755 1725
rect -245 1675 1695 1685
rect -245 1105 -130 1675
rect -110 1105 265 1675
rect 285 1105 315 1675
rect 335 1105 365 1675
rect 385 1105 765 1675
rect 785 1105 1165 1675
rect 1185 1105 1215 1675
rect 1235 1105 1265 1675
rect 1285 1105 1660 1675
rect 1680 1105 1695 1675
rect -245 1095 1695 1105
rect -245 850 1700 860
rect -245 280 -135 850
rect -115 280 165 850
rect 185 280 265 850
rect 285 280 315 850
rect 335 280 365 850
rect 385 280 465 850
rect 485 280 1065 850
rect 1085 280 1165 850
rect 1185 280 1215 850
rect 1235 280 1265 850
rect 1285 280 1365 850
rect 1385 280 1665 850
rect 1685 280 1700 850
rect -245 270 1700 280
rect -245 230 1695 240
rect -245 210 115 230
rect 135 210 515 230
rect 535 210 1015 230
rect 1035 210 1415 230
rect 1435 210 1695 230
rect -245 200 1695 210
rect -245 175 1690 185
rect -245 155 15 175
rect 35 155 615 175
rect 635 155 915 175
rect 935 155 1515 175
rect 1535 155 1690 175
rect -245 145 1690 155
<< labels >>
rlabel metal1 -245 2670 -205 2710 7 vcp
rlabel metal1 -245 2005 -205 2595 7 VDD
rlabel metal1 -245 270 -205 860 7 GND
rlabel metal1 -245 1095 -205 1685 7 VDD
rlabel metal1 -245 200 -205 240 7 vbn
rlabel metal1 -245 145 -205 185 7 vcn
rlabel metal1 -245 1880 -205 1920 7 vout
rlabel metal1 -245 1825 -205 1865 7 v2
rlabel metal1 -245 1770 -205 1810 7 v1
rlabel metal1 -245 1715 -205 1755 7 vbp
rlabel locali 65 1105 85 1675 1 net4
rlabel locali 165 1105 185 1675 1 net7
rlabel locali 465 1105 485 1675 1 net8
rlabel locali 665 1105 685 1675 1 net6
rlabel locali 565 2015 585 2585 1 net3
rlabel locali 65 2015 85 2585 1 net2
rlabel locali -35 2015 -15 2585 1 net1
rlabel locali -35 1105 -15 1675 1 net5
rlabel locali 1465 280 1485 850 1 net11
rlabel locali 1065 1105 1085 1675 1 net14
<< end >>
